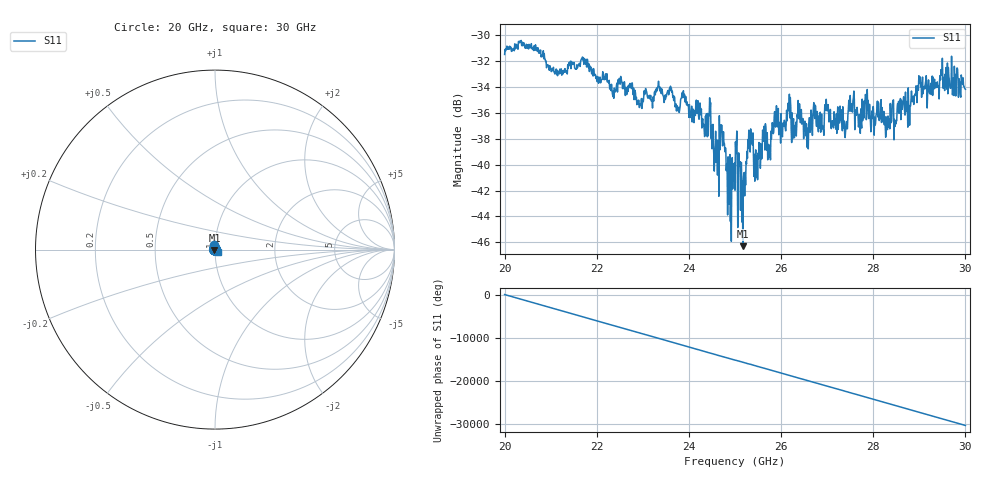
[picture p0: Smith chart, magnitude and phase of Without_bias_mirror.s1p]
#  HZ  S  RI  R  50.00
! Rohde & Schwarz ZVA40 4Ports - Version 3.90 - 1145.1110k42 SN: 100403
! Date: 2023-09-26 10:24:15
! Measurement: S12
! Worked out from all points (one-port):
!   1001 points, 20 GHz to 30 GHz, reference 50 ohm
!   lowest |S11| = -46.3 dB at 25.17 GHz (marker M1), VSWR 1.01, Z = 49.7 - j0.365 ohm
!   |S11| at or under -10 dB: start of sweep to end of sweep
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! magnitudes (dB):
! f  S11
! 20 GHz  -31.5
! 20.35 GHz  -30.5
! 21.25 GHz  -32.9
! 21.7 GHz  -31.9
! 22.36 GHz  -34.3
! 22.5 GHz  -33.7
! 22.94 GHz  -35.3
! 23.59 GHz  -34.3
! 23.75 GHz  -35.7
! 23.88 GHz  -34.3
! 24.43 GHz  -36.3
! 24.6 GHz  -38.1
! 24.71 GHz  -36.9
! 24.88 GHz  -42.8
! 25 GHz  -42.0
! 25.17 GHz  -46.3
! 25.34 GHz  -37.2
! 25.46 GHz  -41.0
! 25.89 GHz  -36.2
! 26.25 GHz  -38.0
! 26.88 GHz  -36.1
! 27 GHz  -35.8
! 27.4 GHz  -37.4
! 27.5 GHz  -34.6
! 28.31 GHz  -37.3
! 28.75 GHz  -37.1
! 29.49 GHz  -33.1
! 30 GHz  -34.2
